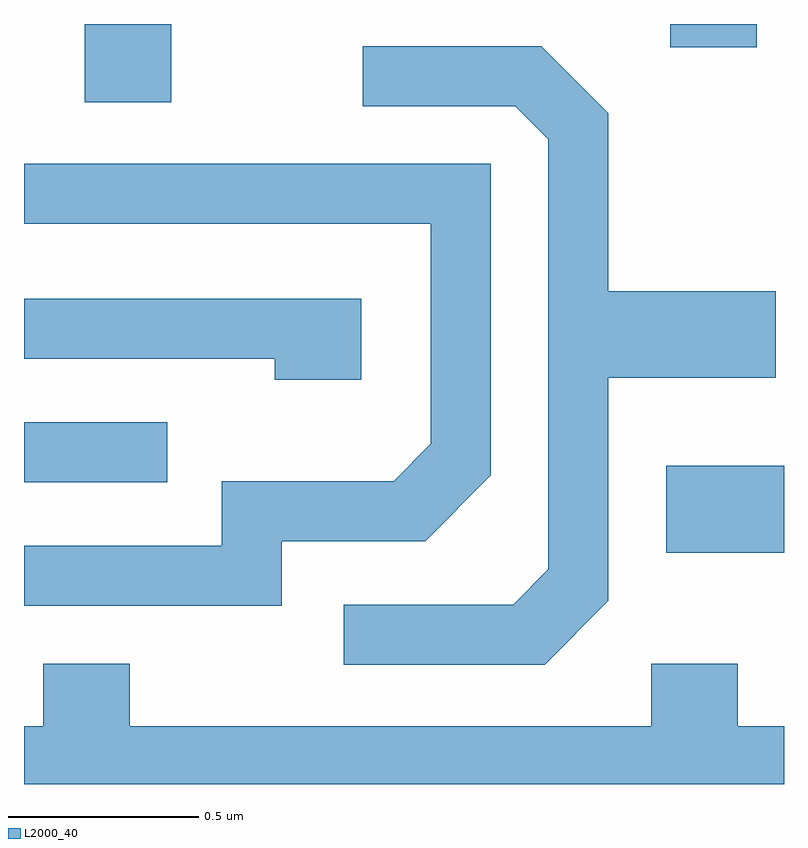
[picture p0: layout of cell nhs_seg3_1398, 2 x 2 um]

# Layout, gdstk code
import gdstk
lib = gdstk.Library(unit=1e-6, precision=1e-09)
def R(c, l, rs):  # rectangles x0, y0, x1, y1
    for r in rs: c.add(gdstk.rectangle(r[:2], r[2:], *l))
def P(c, l, *ps):  # polygons
    for p in ps: c.add(gdstk.Polygon(p, *l))
L2000_40 = (2000, 40)

nhs_seg3_1398 = lib.new_cell('nhs_seg3_1398')
R(nhs_seg3_1398, L2000_40, [(197.301,1144.501,197.611,1144.729), (195.611,1144.686,195.988,1144.844), (195.771,1145.686,195.999,1145.892), (197.311,1145.831,197.539,1145.892)])
P(nhs_seg3_1398, L2000_40, [(197.149,1144.374),(197.149,1144.961),(197.589,1144.961),(197.589,1145.189),(197.149,1145.189),(197.149,1145.657),(196.972,1145.834),(196.503,1145.834),(196.503,1145.676),(196.904,1145.676),(196.991,1145.589),(196.991,1144.457),(196.899,1144.364),(196.453,1144.364),(196.453,1144.206),(196.982,1144.206)],
  [(196.289,1144.531),(196.667,1144.531),(196.839,1144.704),(196.839,1145.524),(195.611,1145.524),(195.611,1145.366),(196.681,1145.366),(196.681,1144.787),(196.584,1144.689),(196.131,1144.689),(196.131,1144.519),(195.611,1144.519),(195.611,1144.361),(196.289,1144.361)],
  [(196.499,1145.169),(195.611,1145.169),(195.611,1145.011),(196.271,1145.011),(196.271,1144.956),(196.499,1144.956)],
  [(197.611,1144.044),(197.489,1144.044),(197.489,1144.209),(197.261,1144.209),(197.261,1144.044),(195.889,1144.044),(195.889,1144.209),(195.661,1144.209),(195.661,1144.044),(195.611,1144.044),(195.611,1143.892),(197.611,1143.892)])

lib.write_gds('nhs_seg3_1398.gds')
